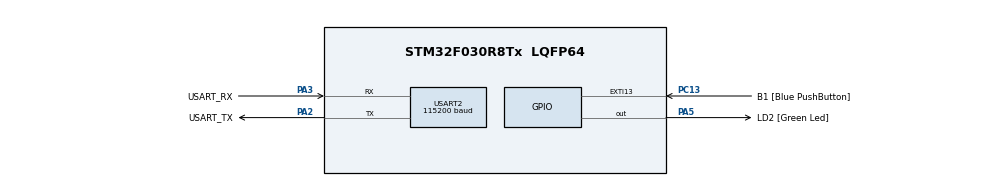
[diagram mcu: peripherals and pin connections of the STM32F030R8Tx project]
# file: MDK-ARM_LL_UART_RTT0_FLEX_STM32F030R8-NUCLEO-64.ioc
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Mcu.Family=STM32F0
Mcu.Name=STM32F030R8Tx
Mcu.Package=LQFP64
NVIC.USART2_IRQn=true\:0\:0\:false\:false\:true\:true\:true
PA13.GPIO_Label=TMS
PA13.Mode=Serial_Wire
PA13.Signal=SYS_SWDIO
PA14.GPIO_Label=TCK
PA14.Mode=Serial_Wire
PA14.Signal=SYS_SWCLK
PA2.GPIO_Label=USART_TX
PA2.GPIO_Mode=GPIO_MODE_AF_PP
PA2.GPIO_PuPd=GPIO_NOPULL
PA2.GPIO_Speed=GPIO_SPEED_FREQ_LOW
PA2.Mode=Asynchronous
PA2.Signal=USART2_TX
PA3.GPIO_Label=USART_RX
PA3.GPIO_Mode=GPIO_MODE_AF_PP
PA3.GPIO_PuPd=GPIO_NOPULL
PA3.GPIO_Speed=GPIO_SPEED_FREQ_LOW
PA3.Mode=Asynchronous
PA3.Signal=USART2_RX
PA5.GPIO_Label=LD2 [Green Led]
PA5.GPIO_Mode=GPIO_MODE_OUTPUT_PP
PA5.GPIO_PuPd=GPIO_NOPULL
PA5.GPIO_Speed=GPIO_SPEED_FREQ_LOW
PA5.Signal=GPIO_Output
PC13.GPIO_Label=B1 [Blue PushButton]
PC13.GPIO_ModeDefaultEXTI=GPIO_MODE_IT_FALLING
PC13.Signal=GPXTI13
PC14-OSC32_IN.Mode=LSE-External-Oscillator
PC14-OSC32_IN.Signal=RCC_OSC32_IN
PC15-OSC32_OUT.Mode=LSE-External-Oscillator
PC15-OSC32_OUT.Signal=RCC_OSC32_OUT
PF0-OSC_IN.Mode=HSE-External-Clock-Source
PF0-OSC_IN.Signal=RCC_OSC_IN
PF1-OSC_OUT.Signal=RCC_OSC_OUT
ProjectManager.HeapSize=0x200
ProjectManager.StackSize=0x400
ProjectManager.TargetToolchain=MDK-ARM V5.27
RCC.AHBFreq_Value=48000000
RCC.APB1Freq_Value=48000000
RCC.APB1TimFreq_Value=48000000
RCC.HCLKFreq_Value=48000000
RCC.PLLMUL=RCC_PLL_MUL12
RCC.SYSCLKFreq_VALUE=48000000
RCC.SYSCLKSource=RCC_SYSCLKSOURCE_PLLCLK
USART2.BaudRate=115200
USART2.VirtualMode-Asynchronous=VM_ASYNC
board=NUCLEO-F030R8

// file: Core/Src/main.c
/* USER CODE BEGIN Header */
/**
  ******************************************************************************
  * @file           : main.c
  * @brief          : Main program body
  ******************************************************************************
  * @attention
  *
  * <h2><center>&copy; Copyright (c) 2021 STMicroelectronics.
  * All rights reserved.</center></h2>
  *
  * This software component is licensed by ST under BSD 3-Clause license,
  * the "License"; You may not use this file except in compliance with the
  * License. You may obtain a copy of the License at:
  *                        opensource.org/licenses/BSD-3-Clause
  *
  ******************************************************************************
  */
/* USER CODE END Header */
#include "main.h"

/* USER CODE BEGIN Includes */
#include "trice.h"
/* USER CODE END Includes */

/* USER CODE BEGIN PV */
int milliSecond = 0;
/* USER CODE END PV */

void SystemClock_Config(void);
static void MX_GPIO_Init(void);
static void MX_USART2_UART_Init(void);

int main(void)
{
  /* USER CODE BEGIN 1 */
#ifdef ENCRYPT
    InitXteaTable();
#endif
  /* USER CODE END 1 */

  /* MCU Configuration--------------------------------------------------------*/

  /* Reset of all peripherals, Initializes the Flash interface and the Systick. */

  LL_APB1_GRP2_EnableClock(LL_APB1_GRP2_PERIPH_SYSCFG);
  LL_APB1_GRP1_EnableClock(LL_APB1_GRP1_PERIPH_PWR);

  /* System interrupt init*/

  /* Configure the system clock */
  SystemClock_Config();

  /* USER CODE BEGIN SysInit */
    SysTick->CTRL |= SysTick_CTRL_TICKINT_Msk; // enable SysTick interrupt
  /* USER CODE END SysInit */

  /* Initialize all configured peripherals */
  MX_GPIO_Init();
  MX_USART2_UART_Init();
  /* USER CODE BEGIN 2 */
    LL_USART_EnableIT_RXNE(TRICE_UART); // enable UART2 interrupt
    TRICE_HEADLINE;
  /* USER CODE END 2 */

  /* Infinite loop */
  /* USER CODE BEGIN WHILE */
  while (1)
  {
    static int lastTricesTime = 0;
    { // send some trices every few ms
        if( milliSecond >= lastTricesTime + 1000 ){
            static int index = 0;
            int select = index % 32;
            #if TRICE_FLEX_ENCODING == TRICE_ENCODING
            TRICE16_2( Id(1047663),"MSG: triceFifoMaxDepth = %d, select = %d\n", triceFifoMaxDepth, select ); // bigID check
            #else
            TRICE16_2( Id(47663),"MSG: triceFifoMaxDepth = %d, select = %d\n", triceFifoMaxDepth, select );
            #endif
            triceCheckSet(select);
            index++;
            lastTricesTime = milliSecond;
        }
    }
    /* USER CODE END WHILE */

    /* USER CODE BEGIN 3 */
        { // serve every few ms
            static int lastMs = 0;
            if( milliSecond >= lastMs + 1 ){
                lastMs = milliSecond;
                #ifdef ENCRYPT
                triceServeFifoEncryptedToBytesBuffer();
                #endif
            }
        }
  }
  /* USER CODE END 3 */
}

void SystemClock_Config(void)
{
  LL_FLASH_SetLatency(LL_FLASH_LATENCY_1);
  while(LL_FLASH_GetLatency() != LL_FLASH_LATENCY_1)
  {
  }
  LL_RCC_HSI_Enable();

   /* Wait till HSI is ready */
  while(LL_RCC_HSI_IsReady() != 1)
  {

  }
  LL_RCC_HSI_SetCalibTrimming(16);
  LL_RCC_PLL_ConfigDomain_SYS(LL_RCC_PLLSOURCE_HSI_DIV_2, LL_RCC_PLL_MUL_12);
  LL_RCC_PLL_Enable();

   /* Wait till PLL is ready */
  while(LL_RCC_PLL_IsReady() != 1)
  {

  }
  LL_RCC_SetAHBPrescaler(LL_RCC_SYSCLK_DIV_1);
  LL_RCC_SetAPB1Prescaler(LL_RCC_APB1_DIV_1);
  LL_RCC_SetSysClkSource(LL_RCC_SYS_CLKSOURCE_PLL);

   /* Wait till System clock is ready */
  while(LL_RCC_GetSysClkSource() != LL_RCC_SYS_CLKSOURCE_STATUS_PLL)
  {

  }
  LL_Init1msTick(48000000);
  LL_SetSystemCoreClock(48000000);
}

static void MX_USART2_UART_Init(void)
{

  LL_USART_InitTypeDef USART_InitStruct = {0};

  LL_GPIO_InitTypeDef GPIO_InitStruct = {0};

  /* Peripheral clock enable */
  LL_APB1_GRP1_EnableClock(LL_APB1_GRP1_PERIPH_USART2);

  LL_AHB1_GRP1_EnableClock(LL_AHB1_GRP1_PERIPH_GPIOA);
  /**USART2 GPIO Configuration
  PA2   ------> USART2_TX
  PA3   ------> USART2_RX
  */
  GPIO_InitStruct.Pin = USART_TX_Pin;
  GPIO_InitStruct.Mode = LL_GPIO_MODE_ALTERNATE;
  GPIO_InitStruct.Speed = LL_GPIO_SPEED_FREQ_LOW;
  GPIO_InitStruct.OutputType = LL_GPIO_OUTPUT_PUSHPULL;
  GPIO_InitStruct.Pull = LL_GPIO_PULL_NO;
  GPIO_InitStruct.Alternate = LL_GPIO_AF_1;
  LL_GPIO_Init(USART_TX_GPIO_Port, &GPIO_InitStruct);

  GPIO_InitStruct.Pin = USART_RX_Pin;
  GPIO_InitStruct.Mode = LL_GPIO_MODE_ALTERNATE;
  GPIO_InitStruct.Speed = LL_GPIO_SPEED_FREQ_LOW;
  GPIO_InitStruct.OutputType = LL_GPIO_OUTPUT_PUSHPULL;
  GPIO_InitStruct.Pull = LL_GPIO_PULL_NO;
  GPIO_InitStruct.Alternate = LL_GPIO_AF_1;
  LL_GPIO_Init(USART_RX_GPIO_Port, &GPIO_InitStruct);

  /* USART2 interrupt Init */
  NVIC_SetPriority(USART2_IRQn, 0);
  NVIC_EnableIRQ(USART2_IRQn);

  USART_InitStruct.BaudRate = 115200;
  USART_InitStruct.DataWidth = LL_USART_DATAWIDTH_8B;
  USART_InitStruct.StopBits = LL_USART_STOPBITS_1;
  USART_InitStruct.Parity = LL_USART_PARITY_NONE;
  USART_InitStruct.TransferDirection = LL_USART_DIRECTION_TX_RX;
  USART_InitStruct.HardwareFlowControl = LL_USART_HWCONTROL_NONE;
  USART_InitStruct.OverSampling = LL_USART_OVERSAMPLING_16;
  LL_USART_Init(USART2, &USART_InitStruct);
  LL_USART_DisableIT_CTS(USART2);
  LL_USART_ConfigAsyncMode(USART2);
  LL_USART_Enable(USART2);

}

static void MX_GPIO_Init(void)
{
  LL_EXTI_InitTypeDef EXTI_InitStruct = {0};
  LL_GPIO_InitTypeDef GPIO_InitStruct = {0};

  /* GPIO Ports Clock Enable */
  LL_AHB1_GRP1_EnableClock(LL_AHB1_GRP1_PERIPH_GPIOC);
  LL_AHB1_GRP1_EnableClock(LL_AHB1_GRP1_PERIPH_GPIOF);
  LL_AHB1_GRP1_EnableClock(LL_AHB1_GRP1_PERIPH_GPIOA);

  /**/
  LL_GPIO_ResetOutputPin(LD2_GPIO_Port, LD2_Pin);

  /**/
  LL_SYSCFG_SetEXTISource(LL_SYSCFG_EXTI_PORTC, LL_SYSCFG_EXTI_LINE13);

  /**/
  LL_GPIO_SetPinPull(B1_GPIO_Port, B1_Pin, LL_GPIO_PULL_NO);

  /**/
  LL_GPIO_SetPinMode(B1_GPIO_Port, B1_Pin, LL_GPIO_MODE_INPUT);

  /**/
  EXTI_InitStruct.Line_0_31 = LL_EXTI_LINE_13;
  EXTI_InitStruct.LineCommand = ENABLE;
  EXTI_InitStruct.Mode = LL_EXTI_MODE_IT;
  EXTI_InitStruct.Trigger = LL_EXTI_TRIGGER_FALLING;
  LL_EXTI_Init(&EXTI_InitStruct);

  /**/
  GPIO_InitStruct.Pin = LD2_Pin;
  GPIO_InitStruct.Mode = LL_GPIO_MODE_OUTPUT;
  GPIO_InitStruct.Speed = LL_GPIO_SPEED_FREQ_LOW;
  GPIO_InitStruct.OutputType = LL_GPIO_OUTPUT_PUSHPULL;
  GPIO_InitStruct.Pull = LL_GPIO_PULL_NO;
  LL_GPIO_Init(LD2_GPIO_Port, &GPIO_InitStruct);

}

void Error_Handler(void)
{
  __disable_irq();
  while (1)
  {
  }
}

/************************ (C) COPYRIGHT STMicroelectronics *****END OF FILE****/
